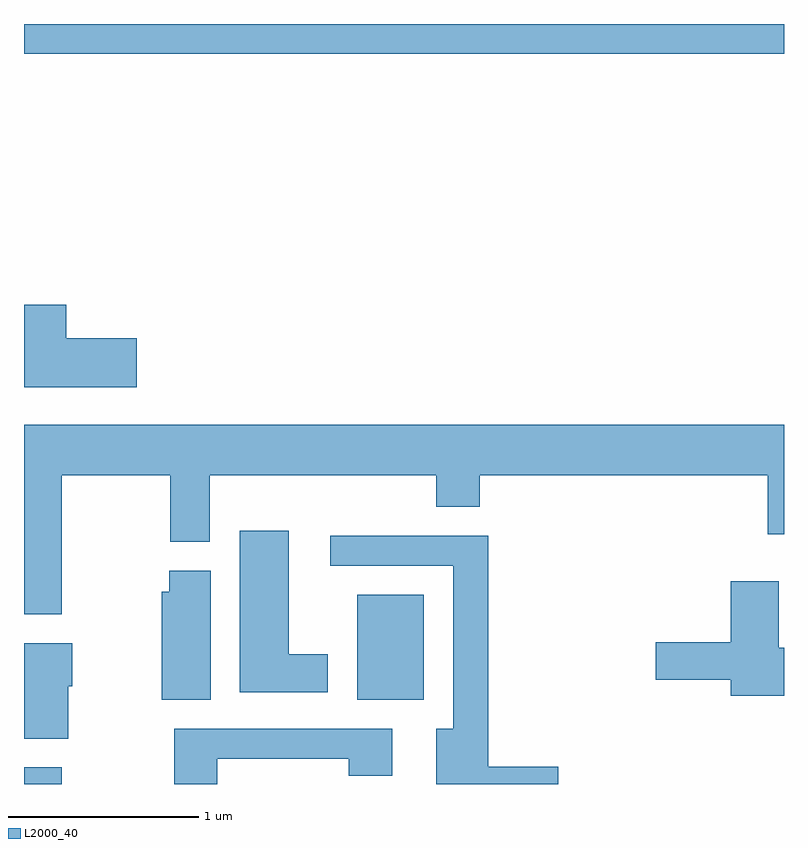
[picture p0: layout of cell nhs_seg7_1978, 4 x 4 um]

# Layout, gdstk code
import gdstk
lib = gdstk.Library(unit=1e-6, precision=1e-09)
def R(c, l, rs):  # rectangles x0, y0, x1, y1
    for r in rs: c.add(gdstk.rectangle(r[:2], r[2:], *l))
def P(c, l, *ps):  # polygons
    for p in ps: c.add(gdstk.Polygon(p, *l))
L2000_40 = (2000, 40)

nhs_seg7_1978 = lib.new_cell('nhs_seg7_1978')
R(nhs_seg7_1978, L2000_40, [(245.611,1708.252,245.809,1708.339), (247.366,1708.696,247.714,1709.249), (245.611,1712.096,249.611,1712.252)])
P(nhs_seg7_1978, L2000_40, [(246.204,1710.599),(245.834,1710.599),(245.834,1710.774),(245.611,1710.774),(245.611,1710.341),(246.204,1710.341)],
  [(245.809,1709.876),(246.381,1709.876),(246.381,1709.526),(246.589,1709.526),(246.589,1709.876),(247.781,1709.876),(247.781,1709.711),(248.009,1709.711),(248.009,1709.876),(249.526,1709.876),(249.526,1709.566),(249.611,1709.566),(249.611,1710.144),(245.611,1710.144),(245.611,1709.146),(245.809,1709.146)],
  [(247.209,1708.934),(247.004,1708.934),(247.004,1709.584),(246.746,1709.584),(246.746,1708.736),(247.209,1708.736)],
  [(248.424,1708.344),(248.054,1708.344),(248.054,1709.559),(247.223,1709.559),(247.223,1709.401),(247.871,1709.401),(247.871,1708.544),(247.781,1708.544),(247.781,1708.252),(248.424,1708.252)],
  [(246.594,1709.374),(246.376,1709.374),(246.376,1709.264),(246.336,1709.264),(246.336,1708.696),(246.594,1708.696)],
  [(249.611,1708.969),(249.584,1708.969),(249.584,1709.319),(249.331,1709.319),(249.331,1708.999),(248.936,1708.999),(248.936,1708.801),(249.331,1708.801),(249.331,1708.716),(249.611,1708.716)],
  [(245.844,1708.766),(245.864,1708.766),(245.864,1708.994),(245.611,1708.994),(245.611,1708.491),(245.844,1708.491)],
  [(246.629,1708.386),(247.321,1708.386),(247.321,1708.296),(247.549,1708.296),(247.549,1708.544),(246.401,1708.544),(246.401,1708.252),(246.629,1708.252)])

lib.write_gds('nhs_seg7_1978.gds')
